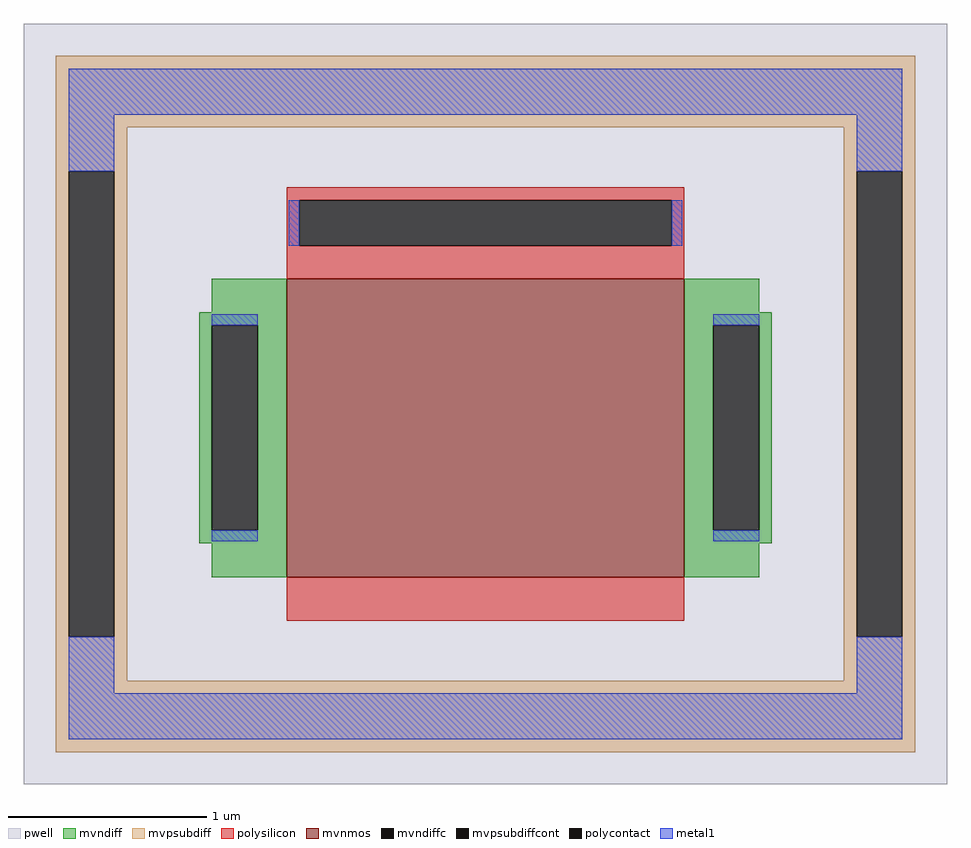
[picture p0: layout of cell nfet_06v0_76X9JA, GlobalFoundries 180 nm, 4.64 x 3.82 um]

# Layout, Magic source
magic
tech gf180mcuD
magscale 1 10
<< pwell >>
rect -464 -382 464 382
<< mvnmos >>
rect -200 -174 200 126
<< mvndiff >>
rect -275 92 -200 126
rect -288 79 -200 92
rect -288 -127 -275 79
rect -229 -127 -200 79
rect -288 -140 -200 -127
rect -275 -174 -200 -140
rect 200 92 275 126
rect 200 79 288 92
rect 200 -127 229 79
rect 275 -127 288 79
rect 200 -140 288 -127
rect 200 -174 275 -140
<< mvndiffc >>
rect -275 -127 -229 79
rect 229 -127 275 79
<< mvpsubdiff >>
rect -432 278 432 350
rect -432 234 -360 278
rect -432 -234 -419 234
rect -373 -234 -360 234
rect 360 234 432 278
rect -432 -278 -360 -234
rect 360 -234 373 234
rect 419 -234 432 234
rect 360 -278 432 -234
rect -432 -350 432 -278
<< mvpsubdiffcont >>
rect -419 -234 -373 234
rect 373 -234 419 234
<< polysilicon >>
rect -200 205 200 218
rect -200 159 -187 205
rect 187 159 200 205
rect -200 126 200 159
rect -200 -218 200 -174
<< polycontact >>
rect -187 159 187 205
<< metal1 >>
rect -419 291 419 337
rect -419 234 -373 291
rect 373 234 419 291
rect -198 159 -187 205
rect 187 159 198 205
rect -275 79 -229 90
rect -275 -138 -229 -127
rect 229 79 275 90
rect 229 -138 275 -127
rect -419 -291 -373 -234
rect 373 -291 419 -234
rect -419 -337 419 -291
<< properties >>
string FIXED_BBOX -396 -314 396 314
string gencell nfet_06v0
string library gf180mcu
string parameters w 1.5 l 2 m 1 nf 1 diffcov 75 polycov 100 guard 1 glc 1 grc 1 gtc 0 gbc 0 tbcov 100 rlcov 100 topc 1 botc 0 poverlap 0 doverlap 1 lmin 0.6 wmin 0.3 class mosfet full_metal 1 compatible {nfet_03v3 nfet_06v0 nfet_06v0_nvt}
<< end >>
